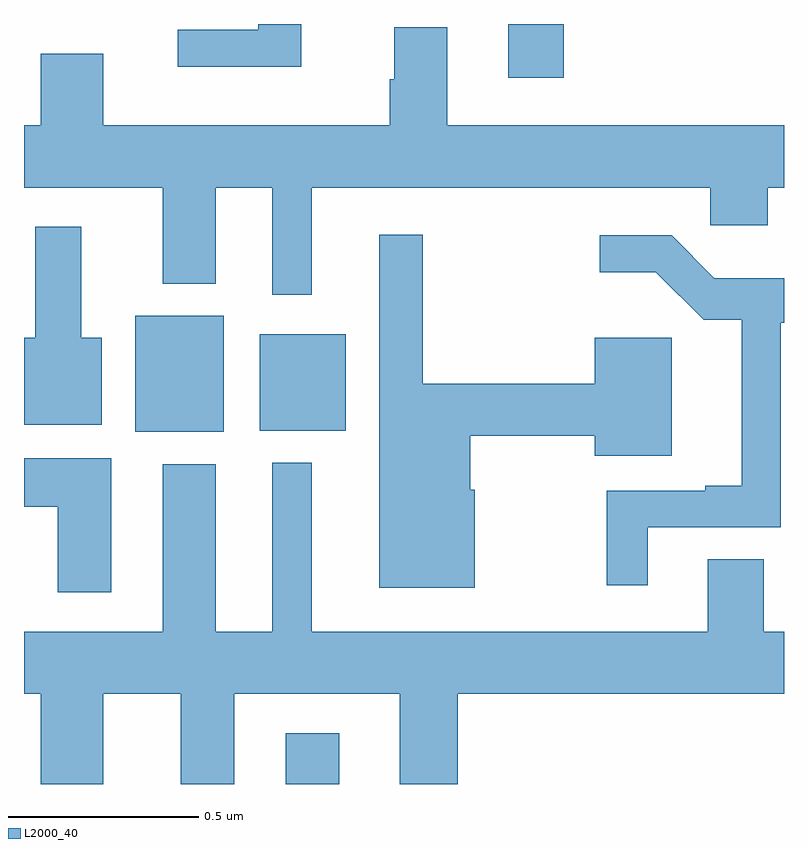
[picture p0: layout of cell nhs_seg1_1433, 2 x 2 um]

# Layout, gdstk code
import gdstk
lib = gdstk.Library(unit=1e-6, precision=1e-09)
def R(c, l, rs):  # rectangles x0, y0, x1, y1
    for r in rs: c.add(gdstk.rectangle(r[:2], r[2:], *l))
def P(c, l, *ps):  # polygons
    for p in ps: c.add(gdstk.Polygon(p, *l))
L2000_40 = (2000, 40)

nhs_seg1_1433 = lib.new_cell('nhs_seg1_1433')
R(nhs_seg1_1433, L2000_40, [(129.689,514.199,129.829,514.333), (129.293,515.126,129.526,515.431), (129.62,515.129,129.847,515.383), (130.274,516.057,130.421,516.199)])
P(nhs_seg1_1433, L2000_40, [(129.729,516.199),(129.617,516.199),(129.617,516.184),(129.405,516.184),(129.405,516.086),(129.729,516.086)],
  [(129.757,515.768),(130.806,515.768),(130.806,515.67),(130.957,515.67),(130.957,515.768),(131,515.768),(131,515.932),(130.114,515.932),(130.114,516.19),(129.974,516.19),(129.974,516.053),(129.962,516.053),(129.962,515.932),(129.208,515.932),(129.208,516.121),(129.044,516.121),(129.044,515.932),(129,515.932),(129,515.768),(129.365,515.768),(129.365,515.516),(129.505,515.516),(129.505,515.768),(129.653,515.768),(129.653,515.487),(129.757,515.487)],
  [(129.205,515.374),(129.151,515.374),(129.151,515.665),(129.029,515.665),(129.029,515.374),(129,515.374),(129,515.144),(129.205,515.144)],
  [(130.186,514.974),(130.174,514.974),(130.174,515.116),(130.502,515.116),(130.502,515.063),(130.705,515.063),(130.705,515.373),(130.502,515.373),(130.502,515.252),(130.049,515.252),(130.049,515.644),(129.935,515.644),(129.935,514.715),(130.186,514.715)],
  [(130.642,514.875),(130.991,514.875),(130.991,515.413),(131,515.413),(131,515.53),(130.817,515.53),(130.704,515.643),(130.515,515.643),(130.515,515.546),(130.663,515.546),(130.789,515.421),(130.889,515.421),(130.889,514.984),(130.793,514.984),(130.793,514.971),(130.533,514.971),(130.533,514.722),(130.642,514.722)],
  [(129.229,515.056),(129,515.056),(129,514.928),(129.089,514.928),(129.089,514.704),(129.229,514.704)],
  [(129.208,514.436),(129.413,514.436),(129.413,514.199),(129.553,514.199),(129.553,514.436),(129.989,514.436),(129.989,514.199),(130.142,514.199),(130.142,514.436),(131,514.436),(131,514.6),(130.947,514.6),(130.947,514.79),(130.799,514.79),(130.799,514.6),(129.757,514.6),(129.757,515.044),(129.653,515.044),(129.653,514.6),(129.505,514.6),(129.505,515.041),(129.365,515.041),(129.365,514.6),(129,514.6),(129,514.436),(129.044,514.436),(129.044,514.199),(129.208,514.199)])

lib.write_gds('nhs_seg1_1433.gds')
